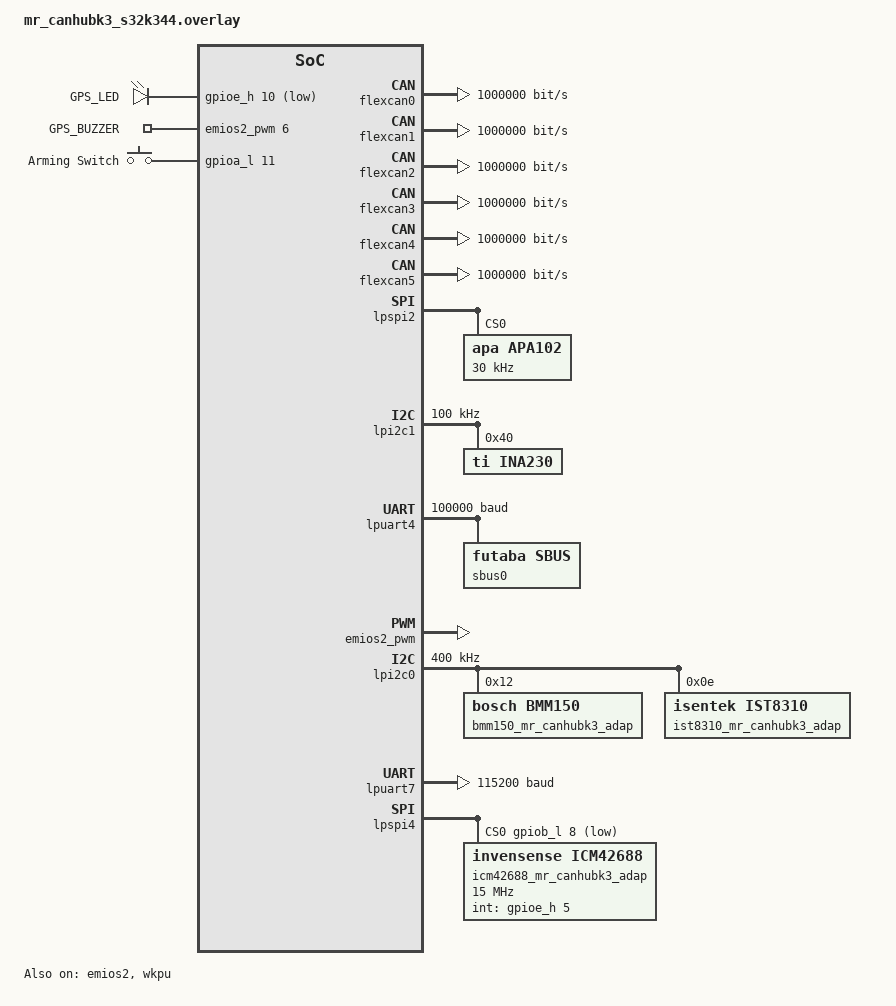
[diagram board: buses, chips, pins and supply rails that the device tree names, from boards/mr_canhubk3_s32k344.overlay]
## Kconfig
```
# Copyright (c) 2023, CogniPilot Foundation
# SPDX-License-Identifier: Apache-2.0

mainmenu "CogniPilot - Cerebri - MELM"
source "Kconfig.zephyr"

config CEREBRI_MELM_ESTIMATE
  bool "enable estimate"
  depends on CEREBRI_MELM_CASADI
  help
    Enable estimator

config CEREBRI_MELM_FSM
  bool "enable finite state machine"
  help
    Enable fintie state machine

config CEREBRI_MELM_LIGHTING
  bool "enable lighting"
  help
    Enable lighting

config CEREBRI_MELM_COMMAND
  bool "enable command"
  depends on CEREBRI_MELM_MIXING
  help
    Enable command

config CEREBRI_MELM_MIXING
  bool "enable mixing"
  help
    Enable mixing

config CEREBRI_MELM_POSITION
  bool "enable position"
  depends on CEREBRI_MELM_CASADI
  help
    Enable position

config CEREBRI_MELM_VELOCITY
  bool "enable velocity"
  depends on CEREBRI_MELM_MIXING
  depends on CEREBRI_MELM_CASADI
  help
    Enable velocity

config CEREBRI_MELM_CASADI
  bool "enable casadi code"
  help
    Enable Casadi generated code

config CEREBRI_MELM_BATTERY_MIN_MILLIVOLT
  int "min battery voltage in milli volts before shut off"
  default 10000
  help
    Minimum battery voltage in mV before auto-disarm

config CEREBRI_MELM_BATTERY_LOW_MILLIVOLT
  int "low battery voltage in milli volts before warning"
  default 10500
  help
    Low battery voltage in mV before warning

config CEREBRI_MELM_BATTERY_MAX_MILLIVOLT
  int "max battery voltage in milli volts"
  default 12600
  help
    Maximum battery voltage

config CEREBRI_MELM_GAIN_HEADING
  int "heading gain"
  default 100
  help
    Steering = Heading error * GAIN_/ 1000

config CEREBRI_MELM_GAIN_CROSS_TRACK
  int "cross track gain"
  default 100
  help
    Steering = Cross track error * GAIN / 1000

config CEREBRI_MELM_GAIN_ALONG_TRACK
  int "along track gain"
  default 100
  help
    Steering = Along track error * GAIN / 1000

config CEREBRI_MELM_MAX_TURN_ANGLE_MRAD
  int "max turn angle mrad"
  default 400
  help
    Max turn angle in milli-radians

config CEREBRI_MELM_MAX_VELOCITY_MM_S
  int "max velocity, mm/s"
  default 1000
  help
    Max velocity in mm/s

config CEREBRI_MELM_WHEEL_RADIUS_MM
  int "wheel radius, mm"
  default 37
  help
    Wheel radius in mm

config CEREBRI_MELM_WHEEL_BASE_MM
  int "wheel base, mm"
  default 226
  help
    Wheel radius in mm

module = CEREBRI_MELM
module-str = cerebri_melm
source "subsys/logging/Kconfig.template.log_config"
```

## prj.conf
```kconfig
CONFIG_CEREBRI_APP_NAME="b3rb"

CONFIG_SYS_CLOCK_TICKS_PER_SEC=10000
CONFIG_TICKLESS_KERNEL=n

CONFIG_CEREBRI_DREAM_SIL=n

CONFIG_CEREBRI_MELM_ESTIMATE=y
CONFIG_CEREBRI_MELM_FSM=y
CONFIG_CEREBRI_MELM_COMMAND=y
CONFIG_CEREBRI_MELM_MIXING=y
CONFIG_CEREBRI_MELM_POSITION=y
CONFIG_CEREBRI_MELM_VELOCITY=y
CONFIG_CEREBRI_MELM_LIGHTING=y
CONFIG_CEREBRI_MELM_CASADI=y
CONFIG_CEREBRI_ACTUATE_LED_ARRAY_COUNT=12

CONFIG_CEREBRI_ACTUATE_PWM=y
CONFIG_CEREBRI_ACTUATE_LED_ARRAY=y
CONFIG_CEREBRI_ACTUATE_SOUND=y

CONFIG_NET_BUF_RX_COUNT=24
CONFIG_NET_PKT_RX_COUNT=24

CONFIG_CEREBRI_SENSE_SBUS=y
CONFIG_CEREBRI_SENSE_POWER=y
CONFIG_CEREBRI_SENSE_SAFETY=y
CONFIG_CEREBRI_SENSE_IMU=y
CONFIG_CEREBRI_SENSE_MAG=y
CONFIG_CEREBRI_SENSE_WHEEL_ODOMETRY=y
CONFIG_CEREBRI_SENSE_UBX_GNSS=y

CONFIG_CEREBRI_SYNAPSE_ETH_RX=y
CONFIG_CEREBRI_SYNAPSE_ETH_TX=y

CONFIG_CEREBRI_SYNAPSE_TOPIC=y
CONFIG_CEREBRI_CORE_COMMON=y
CONFIG_CEREBRI_CORE_COMMON_BOOT_BANNER=y
CONFIG_ZROS=y
CONFIG_SHELL_STACK_SIZE=8192
CONFIG_INIT_STACKS=y

CONFIG_LOG=y
CONFIG_LOG_CMDS=y
CONFIG_LOG_MODE_DEFERRED=y

CONFIG_CBPRINTF_FP_SUPPORT=y

# modules
CONFIG_SYNAPSE_PROTOBUF=y
CONFIG_SYNAPSE_TINYFRAME=y
CONFIG_NANOPB=y
CONFIG_UBXLIB=y

# Debug
CONFIG_CEREBRI_ACTUATE_PWM_LOG_LEVEL_DBG=n
CONFIG_CEREBRI_SENSE_WHEEL_ODOMETRY_LOG_LEVEL_DBG=n
CONFIG_CEREBRI_SENSE_IMU_LOG_LEVEL_DBG=n
CONFIG_CEREBRI_SENSE_SAFETY_LOG_LEVEL_DBG=n
CONFIG_CEREBRI_ACTUATE_PWM_LOG_LEVEL_DBG=n

# General config
CONFIG_POSIX_API=y
CONFIG_NEWLIB_LIBC=y
CONFIG_MAIN_THREAD_PRIORITY=5
CONFIG_SYSTEM_WORKQUEUE_PRIORITY=-2
CONFIG_SYS_CLOCK_TICKS_PER_SEC=10000

# Networking config
CONFIG_NET_SHELL=y
CONFIG_NETWORKING=y
CONFIG_NET_IPV4=y
CONFIG_NET_IPV6=n
CONFIG_NET_TCP=y
CONFIG_NET_SOCKETS=y

# Network address config
CONFIG_NET_CONFIG_SETTINGS=y
CONFIG_NET_STATISTICS=y
CONFIG_NET_MGMT_EVENT_INFO=y
CONFIG_NET_MGMT_EVENT_MONITOR=y
CONFIG_NET_BUF_POOL_USAGE=y
CONFIG_NET_DEBUG_NET_PKT_ALLOC=y
CONFIG_NET_CONFIG_NEED_IPV4=y
CONFIG_NET_CONFIG_MY_IPV4_ADDR="192.0.2.1"
CONFIG_NET_CONFIG_PEER_IPV4_ADDR="192.0.2.2"

# STATS
CONFIG_THREAD_RUNTIME_STATS=y
CONFIG_SCHED_THREAD_USAGE=y
CONFIG_SCHED_THREAD_USAGE_ANALYSIS=y
CONFIG_SCHED_THREAD_USAGE_ALL=y
CONFIG_SCHED_THREAD_USAGE_AUTO_ENABLE=y
```

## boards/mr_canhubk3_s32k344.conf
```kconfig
CONFIG_ENTROPY_GENERATOR=y
CONFIG_TEST_RANDOM_GENERATOR=y
CONFIG_SPEED_OPTIMIZATIONS=y
CONFIG_SIZE_OPTIMIZATIONS=n

CONFIG_DISK_ACCESS=n
CONFIG_FS_FATFS_EXFAT=n
CONFIG_DISK_DRIVER_SDMMC=n
CONFIG_FS_FATFS_MOUNT_MKFS=n
CONFIG_CEREBRI_SYNAPSE_LOG_SDCARD=n

CONFIG_TEST=y
CONFIG_UBSAN=n
CONFIG_ASSERT=y
CONFIG_ASSERT_LEVEL=2
CONFIG_ASSERT_VERBOSE=y

CONFIG_SYSTEM_WORKQUEUE_STACK_SIZE=4096

CONFIG_STACK_CANARIES=y

CONFIG_ISR_STACK_SIZE=2048

CONFIG_LOG_MODE_DEFERRED=y
CONFIG_LOG_MODE_IMMEDIATE=n

CONFIG_FPU=y

# config
CONFIG_INPUT=y
CONFIG_INPUT_GPIO_KEYS=y
CONFIG_INPUT_SBUS=y
CONFIG_INPUT_SBUS_THREAD_STACK_SIZE=8192
CONFIG_INPUT_SBUS_REPORT_FILTER=0
CONFIG_INPUT_EVENT_DUMP=n
CONFIG_INPUT_SHELL=n
CONFIG_INPUT_MODE_SYNCHRONOUS=y
CONFIG_INPUT_THREAD_STACK_SIZE=2048


CONFIG_CEREBRI_SENSE_SBUS=y
CONFIG_CEREBRI_SENSE_IMU=n
CONFIG_CEREBRI_SENSE_MAG=n
CONFIG_CEREBRI_SENSE_SAFETY=n
CONFIG_CEREBRI_SENSE_UBX_GNSS=n

CONFIG_CEREBRI_SYNAPSE_ETH_RX=y
CONFIG_CEREBRI_SYNAPSE_ETH_TX=y

CONFIG_PWM=y
CONFIG_CEREBRI_ACTUATE_PWM=n
CONFIG_CEREBRI_ACTUATE_PWM_SHELL=n

CONFIG_LED_STRIP=y
CONFIG_APA102_STRIP=y
CONFIG_CEREBRI_ACTUATE_LED_ARRAY=y
CONFIG_CEREBRI_SENSE_MAG_COUNT=2
CONFIG_CEREBRI_SENSE_POWER=n
CONFIG_CEREBRI_ACTUATE_SOUND=y

CONFIG_ETH_NXP_S32_RX_RING_LEN=16

CONFIG_CAN=y
CONFIG_CAN_MAX_FILTER=5
CONFIG_CAN_SHELL=y

CONFIG_NET_DRIVERS=y
CONFIG_NET_CANBUS=y

CONFIG_NET_SOCKETS_CAN=y
CONFIG_NET_DEFAULT_IF_CANBUS_RAW=y

CONFIG_CEREBRI_ACTUATE_VESC_CAN=y
CONFIG_CEREBRI_ACTUATE_VESC_CAN_NUMBER=1
CONFIG_CEREBRI_ACTUATE_VESC_CAN_BUS_FD_0=y
CONFIG_CEREBRI_ACTUATE_VESC_CAN_BUS_ALIAS_CAN_N_0=2
CONFIG_CEREBRI_ACTUATE_VESC_CAN_ID_0=60
CONFIG_CEREBRI_ACTUATE_VESC_CAN_ACTUATOR_VEL_IDX_0=0
CONFIG_CEREBRI_ACTUATE_VESC_CAN_POLE_PAIR_0=7

CONFIG_CAN_LOG_LEVEL_DBG=n
CONFIG_CAN_FD_MODE=y
CONFIG_SHELL_ARGC_MAX=72
CONFIG_I2C=y
CONFIG_SENSOR=y
CONFIG_SENSOR_SHELL=y
CONFIG_HEAP_MEM_POOL_SIZE=16384

# Debugging
CONFIG_DEBUG_THREAD_INFO=y

# Logging
#CONFIG_LOG_BACKEND_NET=n
#CONFIG_LOG_BACKEND_NET_SERVER="192.0.2.2"
```

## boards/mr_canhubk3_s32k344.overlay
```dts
/* SPDX-License-Identifier: Apache-2.0 */
/* Copyright 2023 CogniPilot Foundation */
#include <freq.h>
#include <zephyr/dt-bindings/gpio/nxp-s32-gpio.h>
#include <zephyr/dt-bindings/input/input-event-codes.h>
#include <zephyr/dt-bindings/led/led.h>
#include <zephyr/dt-bindings/sensor/ina230.h>
#include <zephyr/dt-bindings/sensor/icm42688.h>

/ {
	pwm_actuators: pwm_actuators {
		compatible = "cerebri,pwm-actuators";
		aux0 {
			input-type = "position";
			input-index = <0>;
			pwms = <&emios0_pwm 0 PWM_HZ(50) PWM_POLARITY_NORMAL>;
			disarmed = <1500>;
			min = <1100>;
			max = <1900>;
			center = <1500>;
			scale = <800>;
			scale-div = <1>;

		};
		aux1 {
			input-type = "velocity";
			input-index = <0>;
			pwms = <&emios0_pwm 2 PWM_HZ(20000) PWM_POLARITY_NORMAL>;
			disarmed = <25000>;
			min = <0>;
			max = <50000>;
			center = <25000>;
			scale = <717>;
			scale-div = <1>;
			use-nano-seconds;
		};
		aux2 {
			input-type = "normalized";
			input-index = <0>;
			pwms = <&emios0_pwm 1 PWM_HZ(20000) PWM_POLARITY_NORMAL>;
			disarmed = <0>;
			min = <0>;
			max = <50000>;
			center = <0>;
			scale = <50000>;
			scale-div = <1>;
			use-nano-seconds;
		};
	};

	chosen {
		zephyr,canbus = &flexcan3;
	};

	aliases {
		can0 = &flexcan0;
		can1 = &flexcan1;
		can2 = &flexcan2;
		can3 = &flexcan3;
		can4 = &flexcan4;
		can5 = &flexcan5;
		accel0 = &icm42688_mr_canhubk3_adap;
		gyro0 = &icm42688_mr_canhubk3_adap;
		mag0 = &bmm150_mr_canhubk3_adap;
		mag1 = &ist8310_mr_canhubk3_adap;
		led0 = &gps_led_mr_canhubk3_adap;
		buzzer = &gps_buzzer_mr_canhubk3_adap;
		power0 = &ina230;
		wheel-odometry0 = &qdec0;
		sbus = &sbus0;
		safety-button = &safety_button_mr_canhubk3_adap;
	};
	cfg-device-gnss {
		status = "okay";
		compatible = "u-blox,ubxlib-device-gnss";
		transport-type = "uart0";
		uart-baud-rate = <115200>;
		module-type = "U_GNSS_MODULE_TYPE_M10";
	};
	leds {
		gps_led_mr_canhubk3_adap: gps_led {
			label = "GPS_LED";
			gpios = <&gpioe_h 10 GPIO_ACTIVE_LOW>;
		};
	};
	pwmbuzzers {
		compatible = "pwm-leds";

		gps_buzzer_mr_canhubk3_adap: gps_buzzer {
			label = "GPS_BUZZER";
			pwms = <&emios2_pwm 6 PWM_KHZ(1) PWM_POLARITY_NORMAL>;
		};
	};
	gpio_keys {
		compatible = "gpio-keys";
		safety_button_mr_canhubk3_adap: button_0 {
			label = "Arming Switch";
			gpios = <&gpioa_l 11 (GPIO_PULL_DOWN | GPIO_ACTIVE_HIGH)>;
			zephyr,code = <INPUT_KEY_0>;
		};
	};
};

&eirq0_default {
    group2 {
        pinmux = <PTA11_EIRQ19>;
        input-enable;
    };
};

&gpioa_l {
	status = "okay";
};

&emios0_pwm {
	pwm_0 {
		/delete-property/ period;
		/delete-property/ prescaler;
		master-bus = <&emios0_bus_a>;
		pwm-mode = "OPWMB";
		phase-shift = <100>;
		duty-cycle = <0>;
	};
	pwm_1 {
		prescaler = <1>;
		duty-cycle = <0>;
	};
	pwm_2 {
		prescaler = <1>;
	};
};

&flexcan0 {
	status = "okay";
	bitrate = <1000000>;
	bitrate-data = <4000000>;
};

&flexcan1 {
	status = "okay";
	bitrate = <1000000>;
	bitrate-data = <4000000>;
};

&flexcan2 {
	status = "okay";
	bitrate = <1000000>;
	bitrate-data = <4000000>;
};

&flexcan3 {
	status = "okay";
	bitrate = <1000000>;
	bitrate-data = <4000000>;
};

&flexcan4 {
	status = "okay";
	bitrate = <1000000>;
	bitrate-data = <4000000>;
};

&flexcan5 {
	status = "okay";
	bitrate = <1000000>;
	bitrate-data = <4000000>;
};

&lpspi2 {
	status = "okay";
	apa102: apa102@0 {
		compatible = "apa,apa102";
		reg = <0>;
		spi-max-frequency = <30000>;
		status = "okay";
		chain-length = <12>;
		color-mapping = <>;
	};
};

&lpi2c1 {
	status = "okay";
	pinctrl-0 = <&lpi2c1_default>;
	pinctrl-names = "default";
	clock-frequency = <I2C_BITRATE_STANDARD>;

	ina230: ina230@40 {
		compatible = "ti,ina230";
		reg = <0x40>;
		current-lsb-microamps = <10000>;
		rshunt-micro-ohms = <2000>;
	};
};

&lpuart4 {
	status = "okay";
	pinctrl-0 = <&lpuart4_mr_canhubk3_adap>;
	pinctrl-names = "default";
	current-speed = <100000>;
	single-wire;
	rx-invert;

	sbus0: sbus {
		compatible = "futaba,sbus";
		chan_1 {
			channel = <1>;
			type = <INPUT_EV_ABS>;
			zephyr,code = <1>;
		};
		chan_2 {
			channel = <2>;
			type = <INPUT_EV_ABS>;
			zephyr,code = <2>;
		};
		chan_3 {
			channel = <3>;
			type = <INPUT_EV_ABS>;
			zephyr,code = <3>;
		};
		chan_4 {
			channel = <4>;
			type = <INPUT_EV_ABS>;
			zephyr,code = <4>;
		};
		chan_5 {
			channel = <5>;
			type = <INPUT_EV_ABS>;
			zephyr,code = <5>;
		};
		chan_6 {
			channel = <6>;
			type = <INPUT_EV_ABS>;
			zephyr,code = <6>;
		};
		chan_7 {
			channel = <7>;
			type = <INPUT_EV_ABS>;
			zephyr,code = <7>;
		};
		chan_8 {
			channel = <8>;
			type = <INPUT_EV_ABS>;
			zephyr,code = <8>;
		};
		chan_9 {
			channel = <9>;
			type = <INPUT_EV_ABS>;
			zephyr,code = <9>;
		};
		chan_10 {
			channel = <10>;
			type = <INPUT_EV_ABS>;
			zephyr,code = <10>;
		};
		chan_11 {
			channel = <11>;
			type = <INPUT_EV_ABS>;
			zephyr,code = <11>;
		};
		chan_12 {
			channel = <12>;
			type = <INPUT_EV_ABS>;
			zephyr,code = <12>;
		};
		chan_13 {
			channel = <13>;
			type = <INPUT_EV_ABS>;
			zephyr,code = <13>;
		};
		chan_14 {
			channel = <14>;
			type = <INPUT_EV_ABS>;
			zephyr,code = <14>;
		};
		chan_15 {
			channel = <15>;
			type = <INPUT_EV_ABS>;
			zephyr,code = <15>;
		};
		chan_16 {
			channel = <16>;
			type = <INPUT_EV_ABS>;
			zephyr,code = <16>;
		};
	};
};

&emios2 {
	clock-divider = <160>;
	status = "okay";

	master_bus {
		/* Internal counter's clock = 160 MHz (eMIOS1 clk) / 160 / 1 = 1 MHz */
		emios2_bus_b {
			mode = "MCB_UP_COUNTER";
			prescaler = <1>;
			period = <DT_FREQ_K(2)>;
			status = "okay";
		};
	};

	emios2_pwm: pwm {
		pinctrl-0 = <&emios2_mr_canhubk3_adap>;
		pinctrl-names = "default";
		status = "okay";

		pwm_gps_buzzer {
			channel = <6>;
			duty-cycle = <0>;
			master-bus = <&emios2_bus_b>;
			pwm-mode = "OPWMB";
			polarity = "ACTIVE_HIGH";
		};
	};
};

&lpi2c0 {
	status = "okay";
	clock-frequency = <I2C_BITRATE_FAST>;

	bmm150_mr_canhubk3_adap: bmm150@12  {
		compatible = "bosch,bmm150";
		status = "okay";
		reg = <0x12>;
	};

	ist8310_mr_canhubk3_adap: ist8310@e {
		compatible = "isentek,ist8310";
		status = "okay";
		reg = <0xe>;
	};
};

&wkpu {
	status = "okay";
};

&pinctrl {
	lpspi4_mr_canhubk3_adap: lpspi4_mr_canhubk3_adap {
		group1 {
			pinmux = <PTB10_LPSPI4_SCK_O>, <PTB11_LPSPI4_SIN_O>;
			output-enable;
		};
		group2 {
			pinmux = <PTB9_LPSPI4_SOUT_I>;
			input-enable;
		};
	};

	emios2_mr_canhubk3_adap: emios2_mr_canhubk3_adap {
		group1 {
			pinmux = <PTE26_EMIOS_2_CH6_H_O>;
			output-enable;
		};
	};

	lpuart4_mr_canhubk3_adap: lpuart4_mr_canhubk3_adap {
		group1 {
			pinmux = <PTE11_LPUART4_TX_I>;
			input-enable;
		};
	};

	lpuart7_mr_canhubk3_adap: lpuart7_mr_canhubk3_adap {
		group1 {
			pinmux = <PTE1_LPUART7_TX_O>;
			output-enable;
		};
		group2 {
			pinmux = <PTE0_LPUART7_RX>;
			input-enable;
		};
	};
};

/* GNSS 1 */
uart0: &lpuart7 {
	status = "okay";
	pinctrl-0 = <&lpuart7_mr_canhubk3_adap>;
	pinctrl-names = "default";
	current-speed = <115200>;
};

&lpspi4 {
	status = "okay";
	pinctrl-0 = <&lpspi4_mr_canhubk3_adap>;
	pinctrl-names = "default";
	cs-gpios = <&gpiob_l 8 GPIO_ACTIVE_LOW>;

	icm42688_mr_canhubk3_adap: icm42688p0@0 {
		fifo-hires;
		compatible = "invensense,icm42688";
		reg = <0>;
		int-gpios = <&gpioe_h 5 NXP_S32_GPIO_INT_WKPU>;
		spi-max-frequency = <15000000>;
		accel-pwr-mode = <ICM42688_DT_ACCEL_LN>;
		accel-odr = <ICM42688_DT_ACCEL_ODR_200>;
		accel-fs = <ICM42688_DT_ACCEL_FS_16>;
		gyro-pwr-mode = <ICM42688_DT_GYRO_LN>;
		gyro-odr = <ICM42688_DT_GYRO_ODR_200>;
		gyro-fs = <ICM42688_DT_GYRO_FS_2000>;
	};
};
```

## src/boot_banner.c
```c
/*
 * Copyright (c) 2023 CogniPilot Foundation
 * SPDX-License-Identifier: Apache-2.0
 */

#include <zephyr/kernel.h>
#include <zephyr/logging/log.h>

#if defined(CONFIG_CEREBRI_CORE_COMMON_BOOT_BANNER)
#include <stdio.h>
#endif

#include <cerebri/core/common.h>

LOG_MODULE_REGISTER(melm_boot_banner, CONFIG_CEREBRI_MELM_LOG_LEVEL);

static int melm_boot_banner_sys_init(void)
{
    LOG_INF("Cerebri MELM %d.%d.%d", CONFIG_CEREBRI_VERSION_MAJOR, CONFIG_CEREBRI_VERSION_MINOR, CONFIG_CEREBRI_VERSION_PATCH);
#if defined(CONFIG_CEREBRI_CORE_COMMON_BOOT_BANNER)
    printf("%s%s", banner_brain, banner_name);
#endif
    return 0;
};

SYS_INIT(melm_boot_banner_sys_init, APPLICATION, 0);

// vi: ts=4 sw=4 et
```

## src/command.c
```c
/*
 * Copyright CogniPilot Foundation 2024
 * SPDX-License-Identifier: Apache-2.0
 */

#include <zephyr/kernel.h>
#include <zephyr/logging/log.h>
#include <zephyr/shell/shell.h>

#include <zros/private/zros_node_struct.h>
#include <zros/private/zros_pub_struct.h>
#include <zros/private/zros_sub_struct.h>
#include <zros/zros_node.h>
#include <zros/zros_pub.h>
#include <zros/zros_sub.h>

#include <synapse_topic_list.h>

#include "input_mapping.h"
#include "mixing.h"

#define MY_STACK_SIZE 8192
#define MY_PRIORITY 4

LOG_MODULE_REGISTER(melm_command, CONFIG_CEREBRI_MELM_LOG_LEVEL);

static K_THREAD_STACK_DEFINE(g_my_stack_area, MY_STACK_SIZE);

struct context {
    struct zros_node node;
    synapse_pb_Status status;
    synapse_pb_Input input;
    synapse_pb_Actuators actuators;
    synapse_pb_Twist cmd_vel;
    struct zros_sub sub_status, sub_cmd_vel, sub_input;
    struct zros_pub pub_actuators;
    const double wheel_radius;
    const double max_turn_angle;
    const double max_velocity;
    struct k_sem running;
    size_t stack_size;
    k_thread_stack_t* stack_area;
    struct k_thread thread_data;
};

static struct context g_ctx = {
    .node = {},
    .status = synapse_pb_Status_init_default,
    .input = synapse_pb_Input_init_default,
    .actuators = synapse_pb_Actuators_init_default,
    .cmd_vel = synapse_pb_Twist_init_default,
    .sub_status = {},
    .sub_cmd_vel = {},
    .pub_actuators = {},
    .wheel_radius = CONFIG_CEREBRI_MELM_WHEEL_RADIUS_MM / 1000.0,
    .max_turn_angle = CONFIG_CEREBRI_MELM_MAX_TURN_ANGLE_MRAD / 1000.0,
    .max_velocity = CONFIG_CEREBRI_MELM_MAX_VELOCITY_MM_S / 1000.0,
    .running = Z_SEM_INITIALIZER(g_ctx.running, 1, 1),
    .stack_size = MY_STACK_SIZE,
    .stack_area = g_my_stack_area,
    .thread_data = {},
};

static void melm_command_init(struct context* ctx)
{
    zros_node_init(&ctx->node, "melm_command");
    zros_sub_init(&ctx->sub_status, &ctx->node, &topic_status, &ctx->status, 10);
    zros_sub_init(&ctx->sub_input, &ctx->node, &topic_input, &ctx->input, 10);
    zros_sub_init(&ctx->sub_cmd_vel, &ctx->node, &topic_cmd_vel, &ctx->cmd_vel, 10);
    zros_pub_init(&ctx->pub_actuators, &ctx->node, &topic_actuators, &ctx->actuators);
    k_sem_take(&ctx->running, K_FOREVER);
    LOG_INF("init");
}

static void melm_command_fini(struct context* ctx)
{
    zros_sub_fini(&ctx->sub_status);
    zros_sub_fini(&ctx->sub_input);
    zros_sub_fini(&ctx->sub_cmd_vel);
    zros_pub_fini(&ctx->pub_actuators);
    zros_node_fini(&ctx->node);
    k_sem_give(&ctx->running);
    LOG_INF("fini");
}

static void melm_stop(struct context* ctx)
{
    for (int i = 0; i < ctx->input.channel_count; i++) {
        ctx->input.channel[i] = 0;
    }
    ctx->cmd_vel.has_angular = true;
    ctx->cmd_vel.angular.x = 0;
    ctx->cmd_vel.angular.y = 0;
    ctx->cmd_vel.angular.z = 0;
    ctx->cmd_vel.has_linear = true;
    ctx->cmd_vel.linear.x = 0;
    ctx->cmd_vel.linear.y = 0;
    ctx->cmd_vel.linear.z = 0;
}

static void melm_command_run(void* p0, void* p1, void* p2)
{
    struct context* ctx = p0;
    ARG_UNUSED(p1);
    ARG_UNUSED(p2);

    melm_command_init(ctx);

    double dt = 0;
    int64_t ticks_last = k_uptime_ticks();

    while (k_sem_take(&ctx->running, K_NO_WAIT) < 0) {
        // wait for input event, publish at 1 Hz regardless
        int rc = 0;

        struct k_poll_event events[3] = {
            *zros_sub_get_event(&ctx->sub_status),
            *zros_sub_get_event(&ctx->sub_input),
            *zros_sub_get_event(&ctx->sub_cmd_vel),
        };
        rc = k_poll(events, ARRAY_SIZE(events), K_MSEC(1000));

        if (rc != 0) {
            melm_stop(ctx);
        }

        bool update_status = zros_sub_update_available(&ctx->sub_status);
        bool update_input = zros_sub_update_available(&ctx->sub_input);
        bool update_cmd_vel = zros_sub_update_available(&ctx->sub_cmd_vel);

        if (update_status) {
            zros_sub_update(&ctx->sub_status);
        }

        if (update_input) {
            zros_sub_update(&ctx->sub_input);
        }

        if (update_cmd_vel) {
            zros_sub_update(&ctx->sub_cmd_vel);
        }

        // calculate dt
        int64_t ticks_now = k_uptime_ticks();
        dt = (double)(ticks_now - ticks_last) / CONFIG_SYS_CLOCK_TICKS_PER_SEC;
        ticks_last = ticks_now;
        if (dt < 0 || dt > 0.5) {
            LOG_ERR("input update rate too low: %10.4f", dt);
            continue;
        }

        if (ctx->status.mode == synapse_pb_Status_Mode_MODE_ACTUATORS) {

            double turn_angle = -ctx->max_turn_angle * (double)ctx->input.channel[CH_RIGHT_STICK_RIGHT];
            double omega_fwd = ctx->max_velocity * (double)ctx->input.channel[CH_LEFT_STICK_UP] / ctx->wheel_radius;

            bool armed = ctx->status.arming == synapse_pb_Status_Arming_ARMING_ARMED;

            melm_set_actuators(&ctx->actuators, turn_angle, omega_fwd, armed);
            zros_pub_update(&ctx->pub_actuators);
        }
    }

    melm_command_fini(ctx);
}

static int start(struct context* ctx)
{
    k_tid_t tid = k_thread_create(&ctx->thread_data, ctx->stack_area,
        ctx->stack_size,
        melm_command_run,
        ctx, NULL, NULL,
        MY_PRIORITY, 0, K_FOREVER);
    k_thread_name_set(tid, "melm_command");
    k_thread_start(tid);
    return 0;
}

static int melm_command_cmd_handler(const struct shell* sh,
    size_t argc, char** argv, void* data)
{
    ARG_UNUSED(argc);
    struct context* ctx = data;

    if (strcmp(argv[0], "start") == 0) {
        if (k_sem_count_get(&g_ctx.running) == 0) {
            shell_print(sh, "already running");
        } else {
            start(ctx);
        }
    } else if (strcmp(argv[0], "stop") == 0) {
        if (k_sem_count_get(&g_ctx.running) == 0) {
            k_sem_give(&g_ctx.running);
        } else {
            shell_print(sh, "not running");
        }
    } else if (strcmp(argv[0], "status") == 0) {
        shell_print(sh, "running: %d", (int)k_sem_count_get(&g_ctx.running) == 0);
    }
    return 0;
}

SHELL_SUBCMD_DICT_SET_CREATE(sub_melm_command, melm_command_cmd_handler,
    (start, &g_ctx, "start"),
    (stop, &g_ctx, "stop"),
    (status, &g_ctx, "status"));

SHELL_CMD_REGISTER(melm_command, &sub_melm_command, "melm command arguments", NULL);

static int melm_command_sys_init(void)
{
    return start(&g_ctx);
};

SYS_INIT(melm_command_sys_init, APPLICATION, 1);

// vi: ts=4 sw=4 et
```

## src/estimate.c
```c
/*
 * Copyright CogniPilot Foundation 2023
 * SPDX-License-Identifier: Apache-2.0
 */

#include <math.h>
#include <stdio.h>
#include <time.h>

#include <zephyr/kernel.h>
#include <zephyr/logging/log.h>
#include <zephyr/shell/shell.h>

#include <zros/private/zros_node_struct.h>
#include <zros/private/zros_pub_struct.h>
#include <zros/private/zros_sub_struct.h>
#include <zros/zros_node.h>
#include <zros/zros_pub.h>
#include <zros/zros_sub.h>

#include <synapse_topic_list.h>

#include <cerebri/core/casadi.h>

#include "app/melm/casadi/melm.h"

#define MY_STACK_SIZE 4096
#define MY_PRIORITY 4

#ifndef M_PI
#define M_PI 3.14159265358979323846
#endif

LOG_MODULE_REGISTER(melm_estimate, CONFIG_CEREBRI_MELM_LOG_LEVEL);

static K_THREAD_STACK_DEFINE(g_my_stack_area, MY_STACK_SIZE);

// private context
struct context {
    struct zros_node node;
    synapse_pb_WheelOdometry wheel_odometry;
    synapse_pb_Imu imu;
    synapse_pb_Odometry odometry;
    struct zros_sub sub_wheel_odometry, sub_imu;
    struct zros_pub pub_odometry;
    double x[3];
    const double wheel_radius;
    struct k_sem running;
    size_t stack_size;
    k_thread_stack_t* stack_area;
    struct k_thread thread_data;
};

// private initialization
static struct context g_ctx = {
    .node = {},
    .wheel_odometry = synapse_pb_WheelOdometry_init_default,
    .imu = synapse_pb_Imu_init_default,
    .odometry = {
        .child_frame_id = "base_link",
        .has_stamp = true,
        .frame_id = "odom",
        .has_pose = true,
        .pose.has_position = true,
        .pose.has_orientation = true,
    },
    .sub_wheel_odometry = {},
    .sub_imu = {},
    .pub_odometry = {},
    .x = {},
    .wheel_radius = CONFIG_CEREBRI_MELM_WHEEL_RADIUS_MM / 1000.0,
    .running = Z_SEM_INITIALIZER(g_ctx.running, 1, 1),
    .stack_size = MY_STACK_SIZE,
    .stack_area = g_my_stack_area,
    .thread_data = {},
};

static void melm_estimate_init(struct context* ctx)
{
    zros_node_init(&ctx->node, "melm_estimate");
    zros_sub_init(&ctx->sub_imu, &ctx->node, &topic_imu, &ctx->imu, 10);
    zros_sub_init(&ctx->sub_wheel_odometry, &ctx->node, &topic_wheel_odometry,
        &ctx->wheel_odometry, 10);
    zros_pub_init(&ctx->pub_odometry, &ctx->node, &topic_odometry_estimator, &ctx->odometry);
    k_sem_take(&ctx->running, K_FOREVER);
    LOG_INF("init");
}

static void melm_estimate_fini(struct context* ctx)
{
    zros_pub_fini(&ctx->pub_odometry);
    zros_sub_fini(&ctx->sub_wheel_odometry);
    zros_sub_fini(&ctx->sub_imu);
    zros_node_fini(&ctx->node);
    k_sem_give(&ctx->running);
    LOG_INF("fini");
}

static bool all_finite(double* src, size_t n)
{
    for (size_t i = 0; i < n; i++) {
        if (!isfinite(src[i])) {
            return false;
        }
    }
    return true;
}

static void handle_update(struct context* ctx, double* x1)
{
    bool x1_finite = all_finite(x1, ARRAY_SIZE(ctx->x));

    if (!x1_finite) {
        LOG_WRN("x1 update not finite");
    }

    if (x1_finite) {
        memcpy(ctx->x, x1, sizeof(ctx->x));
    }
}

static void melm_estimate_run(void* p0, void* p1, void* p2)
{
    struct context* ctx = p0;
    ARG_UNUSED(p1);
    ARG_UNUSED(p2);

    int rc = 0;

    // LOG_DBG("started");
    melm_estimate_init(ctx);

    // variables
    double rotation_last = 0;

    struct k_poll_event events[1] = {};

    // wait for imu
    LOG_DBG("waiting for imu");
    events[0] = *zros_sub_get_event(&ctx->sub_imu);
    rc = k_poll(events, ARRAY_SIZE(events), K_FOREVER);
    if (rc != 0) {
        LOG_DBG("did not receive imu");
        return;
    }
    if (zros_sub_update_available(&ctx->sub_imu)) {
        zros_sub_update(&ctx->sub_imu);
    }

    // wait for wheel odometry
    LOG_DBG("waiting for wheel odometry");
    events[0] = *zros_sub_get_event(&ctx->sub_wheel_odometry);
    rc = k_poll(events, ARRAY_SIZE(events), K_FOREVER);
    if (rc != 0) {
        LOG_DBG("did not receive wheel odometry");
        return;
    }
    if (zros_sub_update_available(&ctx->sub_wheel_odometry)) {
        zros_sub_update(&ctx->sub_wheel_odometry);
    }

    double dt = 0;
    int64_t ticks_last = k_uptime_ticks();

    // poll on imu
    events[0] = *zros_sub_get_event(&ctx->sub_imu);

    // estimator state
    while (k_sem_take(&ctx->running, K_NO_WAIT) < 0) {

        // poll for imu
        rc = k_poll(events, ARRAY_SIZE(events), K_MSEC(1000));
        if (rc != 0) {
            LOG_DBG("not receiving imu");
            continue;
        }

        if (zros_sub_update_available(&ctx->sub_imu)) {
            zros_sub_update(&ctx->sub_imu);
        }

        if (zros_sub_update_available(&ctx->sub_wheel_odometry)) {
            zros_sub_update(&ctx->sub_wheel_odometry);
        }

        // calculate dt
        int64_t ticks_now = k_uptime_ticks();
        dt = (double)(ticks_now - ticks_last) / CONFIG_SYS_CLOCK_TICKS_PER_SEC;
        ticks_last = ticks_now;
        if (dt < 0 || dt > 0.5) {
            LOG_WRN("imu update rate too low");
            continue;
        }

        // get data
        double rotation = ctx->wheel_odometry.rotation;

        // negative sign due to current gearing, should be in driver
        double u = (rotation - rotation_last) * ctx->wheel_radius;
        rotation_last = rotation;

        double omega = ctx->imu.angular_velocity.z;
        // LOG_DBG("imu omega z: %10.4f", omega);

        /* predict:(x0[3],omega,u)->(x1[3]) */
        {
            double delta_theta = omega * dt;
            double x1[3];

            // LOG_DBG("predict");
            CASADI_FUNC_ARGS(predict);
            args[0] = ctx->x;
            args[1] = &delta_theta;
            args[2] = &u;
            res[0] = x1;
            CASADI_FUNC_CALL(predict);

            // update x, W
            handle_update(ctx, x1);
        }

        // publish odometry
        {
            stamp_msg(&ctx->odometry.stamp, k_uptime_ticks());

            double theta = ctx->x[2];
            ctx->odometry.pose.position.x = ctx->x[0];
            ctx->odometry.pose.position.y = ctx->x[1];
            ctx->odometry.pose.position.z = 0;
            ctx->odometry.pose.orientation.x = 0;
            ctx->odometry.pose.orientation.y = 0;
            ctx->odometry.pose.orientation.z = sin(theta / 2);
            ctx->odometry.pose.orientation.w = cos(theta / 2);
            ctx->odometry.twist.angular.z = omega;
            ctx->odometry.twist.linear.x = u;
            zros_pub_update(&ctx->pub_odometry);
        }
    }

    melm_estimate_fini(ctx);
}

static int start(struct context* ctx)
{
    k_tid_t tid = k_thread_create(&ctx->thread_data, ctx->stack_area,
        ctx->stack_size,
        melm_estimate_run,
        ctx, NULL, NULL,
        MY_PRIORITY, 0, K_FOREVER);
    k_thread_name_set(tid, "melm_estimate");
    k_thread_start(tid);
    return 0;
}

static int melm_estimate_cmd_handler(const struct shell* sh,
    size_t argc, char** argv, void* data)
{
    ARG_UNUSED(argc);
    struct context* ctx = data;

    if (strcmp(argv[0], "start") == 0) {
        if (k_sem_count_get(&g_ctx.running) == 0) {
            shell_print(sh, "already running");
        } else {
            start(ctx);
        }
    } else if (strcmp(argv[0], "stop") == 0) {
        if (k_sem_count_get(&g_ctx.running) == 0) {
            k_sem_give(&g_ctx.running);
        } else {
            shell_print(sh, "not running");
        }
    } else if (strcmp(argv[0], "status") == 0) {
        shell_print(sh, "running: %d", (int)k_sem_count_get(&g_ctx.running) == 0);
    }
    return 0;
}

SHELL_SUBCMD_DICT_SET_CREATE(sub_melm_estimate, melm_estimate_cmd_handler,
    (start, &g_ctx, "start"),
    (stop, &g_ctx, "stop"),
    (status, &g_ctx, "status"));

SHELL_CMD_REGISTER(melm_estimate, &sub_melm_estimate, "melm estimate arguments", NULL);

static int melm_estimate_sys_init(void)
{
    return start(&g_ctx);
};

SYS_INIT(melm_estimate_sys_init, APPLICATION, 1);

// vi: ts=4 sw=4 et
```

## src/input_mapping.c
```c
#include "input_mapping.h"
#include <math.h>
#include <zephyr/logging/log.h>

LOG_MODULE_DECLARE(melm_fsm);

int two_position_switch(float val)
{
    if (val > 0.0f) {
        return SWITCH_POS_DOWN;
    } else {
        return SWITCH_POS_UP;
    }
}

int three_position_switch(float val)
{
    if (val > 0.25f) {
        return SWITCH_POS_DOWN;
    } else if (fabsf(val) <= 0.25f) {
        return SWITCH_POS_MIDDLE;
    } else {
        return SWITCH_POS_UP;
    }
}

void input_request_compute(struct input_request* req, const synapse_pb_Input* input)
{
    // handle input
    int swa = two_position_switch(input->channel[CH_SWA_DOWN]);
    int swb = three_position_switch(input->channel[CH_SWB_DOWN]);
    int swc = three_position_switch(input->channel[CH_SWC_DOWN]);
    int swd = two_position_switch(input->channel[CH_SWD_DOWN]);

    req->arm = swa == SWITCH_POS_DOWN;
    req->disarm = swa == SWITCH_POS_UP;

    req->topic_source_input = swd == SWITCH_POS_UP;
    req->topic_source_ethernet = swd == SWITCH_POS_DOWN;

    req->mode_actuators = swb == SWITCH_POS_UP && swc == SWITCH_POS_UP;
    req->mode_velocity = swb == SWITCH_POS_UP && swc == SWITCH_POS_MIDDLE;
    req->mode_bezier = swb == SWITCH_POS_UP && swc == SWITCH_POS_DOWN;

    req->mode_calibration = swb == SWITCH_POS_DOWN && swc == SWITCH_POS_DOWN;

    if (input->channel[CH_VRA_CW] > 0.5f && !req->lights_on) {
        req->lights_on = true;
        LOG_INF("request lights on");
    } else if (input->channel[CH_VRA_CW] < -0.5f && req->lights_on) {
        LOG_INF("request lights off");
        req->lights_on = false;
    }
}
```

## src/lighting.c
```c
/*
 * Copyright CogniPilot Foundation 2023
 * SPDX-License-Identifier: Apache-2.0
 */

#include <math.h>

#include <zephyr/kernel.h>
#include <zephyr/logging/log.h>
#include <zephyr/shell/shell.h>

#include <zros/private/zros_node_struct.h>
#include <zros/private/zros_pub_struct.h>
#include <zros/private/zros_sub_struct.h>
#include <zros/zros_node.h>
#include <zros/zros_pub.h>
#include <zros/zros_sub.h>

#include <synapse_topic_list.h>

#define MY_STACK_SIZE 2048
#define MY_PRIORITY 4

LOG_MODULE_REGISTER(melm_lighting, CONFIG_CEREBRI_MELM_LOG_LEVEL);

static K_THREAD_STACK_DEFINE(g_my_stack_area, MY_STACK_SIZE);

struct context {
    // node
    struct zros_node node;
    // data
    synapse_pb_BatteryState battery_state;
    synapse_pb_Safety safety;
    synapse_pb_Status status;
    synapse_pb_LEDArray led_array;
    // subscriptions
    struct zros_sub sub_battery_state, sub_safety, sub_status;
    // publications
    struct zros_pub pub_led_array;
    struct k_sem running;
    size_t stack_size;
    k_thread_stack_t* stack_area;
    struct k_thread thread_data;
};

static struct context g_ctx = {
    .node = {},
    .battery_state = synapse_pb_BatteryState_init_default,
    .safety = synapse_pb_Safety_init_default,
    .status = synapse_pb_Status_init_default,
    .led_array = synapse_pb_LEDArray_init_default,
    .sub_safety = {},
    .sub_status = {},
    .pub_led_array = {},
    .running = Z_SEM_INITIALIZER(g_ctx.running, 1, 1),
    .stack_size = MY_STACK_SIZE,
    .stack_area = g_my_stack_area,
    .thread_data = {},
};

static void melm_lighting_init(struct context* ctx)
{
    zros_node_init(&ctx->node, "melm_lighting");
    zros_sub_init(&ctx->sub_battery_state, &ctx->node, &topic_battery_state, &ctx->battery_state, 10);
    zros_sub_init(&ctx->sub_safety, &ctx->node, &topic_safety, &ctx->safety, 10);
    zros_sub_init(&ctx->sub_status, &ctx->node, &topic_status, &ctx->status, 10);
    zros_pub_init(&ctx->pub_led_array, &ctx->node, &topic_led_array, &ctx->led_array);
    k_sem_take(&ctx->running, K_FOREVER);
    LOG_INF("init");
}

static void melm_lighting_fini(struct context* ctx)
{
    zros_sub_fini(&ctx->sub_battery_state);
    zros_sub_fini(&ctx->sub_safety);
    zros_sub_fini(&ctx->sub_status);
    zros_pub_fini(&ctx->pub_led_array);
    zros_node_fini(&ctx->node);
    k_sem_give(&ctx->running);
    LOG_INF("fini");
}

static void set_led(const int index, const double* color, const double brightness, synapse_pb_LEDArray_LED* led)
{
    led->index = index;
    led->r = brightness * color[0];
    led->g = brightness * color[1];
    led->b = brightness * color[2];
}

static void melm_lighting_run(void* p0, void* p1, void* p2)
{
    struct context* ctx = p0;
    ARG_UNUSED(p1);
    ARG_UNUSED(p2);

    melm_lighting_init(ctx);

    while (k_sem_take(&ctx->running, K_NO_WAIT) < 0) {

        // wait 33 ms
        k_msleep(33);

        // update subscriptions
        if (zros_sub_update_available(&ctx->sub_status)) {
            zros_sub_update(&ctx->sub_status);
        }

        if (zros_sub_update_available(&ctx->sub_safety)) {
            zros_sub_update(&ctx->sub_safety);
        }

        if (zros_sub_update_available(&ctx->sub_battery_state)) {
            zros_sub_update(&ctx->sub_battery_state);
        }

        // timing
        double t = k_uptime_ticks() / ((double)CONFIG_SYS_CLOCK_TICKS_PER_SEC);
        const double led_pulse_freq = 0.25;
        const double brightness_min = 4;
        const double brightness_max = 30;
        const double brightness_amplitude = (brightness_max - brightness_min) / 2;
        const double brightness_mean = (brightness_max + brightness_min) / 2;

        int brightness = brightness_mean + brightness_amplitude * sin(2 * 3.14159 * led_pulse_freq * t);
        int led_msg_index = 0;

        const int mode_leds[] = { 2, 3 };
        const double color_auto[] = { 1, 0, 0 };
        const double color_manual[] = { 0, 1, 0 };
        const double color_cmd_vel[] = { 0, 0, 1 };
        const double color_unknown[] = { 0.33, 0.33, 0.33 };

        const int arm_leds[] = { 1, 4 };
        const double color_armed[] = { 1, 0, 0 };
        const double color_disarmed[] = { 0, 1, 0 };

        const int safety_leds[] = { 0, 5 };
        const double color_unsafe[] = { 1, 0, 0 };
        const double color_safe[] = { 0, 1, 0 };
        const double color_battery_critical[] = { 1, 0.65, 0 };
        const double color_calibration[] = { 1, 1, 0 };

        const int headlight_leds[] = { 6, 7, 8, 9, 10, 11 };
        const double color_white[] = { 1, 1, 1 };

        bool battery_critical = ctx->battery_state.voltage < CONFIG_CEREBRI_MELM_BATTERY_MIN_MILLIVOLT / 1000.0;

        // mode leds
        for (size_t i = 0; i < ARRAY_SIZE(mode_leds); i++) {
            const double* color = NULL;
            if (ctx->status.mode == synapse_pb_Status_Mode_MODE_ACTUATORS) {
                color = color_manual;
            } else if (ctx->status.mode == synapse_pb_Status_Mode_MODE_VELOCITY) {
                color = color_cmd_vel;
            } else if (ctx->status.mode == synapse_pb_Status_Mode_MODE_BEZIER) {
                color = color_auto;
            } else if (ctx->status.mode == synapse_pb_Status_Mode_MODE_CALIBRATION) {
                color = color_calibration;
            } else {
                color = color_unknown;
            }
            set_led(mode_leds[i], color, brightness, &ctx->led_array.led[led_msg_index]);
            led_msg_index++;
        }

        // arm leds
        for (size_t i = 0; i < ARRAY_SIZE(arm_leds); i++) {
            const double* color = NULL;
            if (battery_critical) {
                color = color_battery_critical;
            } else {
                if (ctx->status.arming == synapse_pb_Status_Arming_ARMING_DISARMED) {
                    color = color_disarmed;
                } else if (ctx->status.arming == synapse_pb_Status_Arming_ARMING_ARMED) {
                    color = color_armed;
                } else {
                    color = color_unknown;
                }
            }
            set_led(arm_leds[i], color, brightness, &ctx->led_array.led[led_msg_index]);
            led_msg_index++;
        }

        // safety leds
        for (size_t i = 0; i < ARRAY_SIZE(safety_leds); i++) {
            const double* color = NULL;
            if (ctx->safety.status == synapse_pb_Safety_Status_SAFETY_SAFE) {
                color = color_safe;
            } else if (ctx->safety.status == synapse_pb_Safety_Status_SAFETY_UNSAFE) {
                color = color_unsafe;
            } else {
                color = color_unknown;
            }
            set_led(safety_leds[i], color, brightness, &ctx->led_array.led[led_msg_index]);
            led_msg_index++;
        }

        // headlight leds
        bool lights_on = ctx->status.flag & synapse_pb_Status_Flag_FLAG_LIGHTING;

        if (lights_on) {
            for (size_t i = 0; i < ARRAY_SIZE(headlight_leds); i++) {
                set_led(headlight_leds[i], color_white, 255, &ctx->led_array.led[led_msg_index]);
                led_msg_index++;
            }
        } else if (!lights_on) {
            for (size_t i = 0; i < ARRAY_SIZE(headlight_leds); i++) {
                set_led(headlight_leds[i], color_white, 0, &ctx->led_array.led[led_msg_index]);
                led_msg_index++;
            }
        }

        // set timestamp
        stamp_msg(&ctx->led_array.stamp, k_uptime_ticks());
        ctx->led_array.led_count = led_msg_index;

        zros_pub_update(&ctx->pub_led_array);
    }

    melm_lighting_fini(ctx);
}

static int start(struct context* ctx)
{
    k_tid_t tid = k_thread_create(&ctx->thread_data, ctx->stack_area,
        ctx->stack_size,
        melm_lighting_run,
        ctx, NULL, NULL,
        MY_PRIORITY, 0, K_FOREVER);
    k_thread_name_set(tid, "rdd2_lighting");
    k_thread_start(tid);
    return 0;
}

static int melm_lighting_cmd_handler(const struct shell* sh,
    size_t argc, char** argv, void* data)
{
    ARG_UNUSED(argc);
    struct context* ctx = data;
    if (argc != 1) {
        LOG_ERR("must have one argument");
        return -1;
    }

    if (strcmp(argv[0], "start") == 0) {
        if (k_sem_count_get(&g_ctx.running) == 0) {
            shell_print(sh, "already running");
        } else {
            start(ctx);
        }
    } else if (strcmp(argv[0], "stop") == 0) {
        if (k_sem_count_get(&g_ctx.running) == 0) {
            k_sem_give(&g_ctx.running);
        } else {
            shell_print(sh, "not running");
        }
    } else if (strcmp(argv[0], "status") == 0) {
        shell_print(sh, "running: %d", (int)k_sem_count_get(&g_ctx.running) == 0);
    }
    return 0;
}

SHELL_SUBCMD_DICT_SET_CREATE(sub_melm_lighting, melm_lighting_cmd_handler,
    (start, &g_ctx, "start"),
    (stop, &g_ctx, "stop"),
    (status, &g_ctx, "status"));

SHELL_CMD_REGISTER(melm_lighting, &sub_melm_lighting, "melm lighting commands", NULL);

static int melm_lighting_sys_init(void)
{
    return start(&g_ctx);
};

SYS_INIT(melm_lighting_sys_init, APPLICATION, 10);

// vi: ts=4 sw=4 et
```

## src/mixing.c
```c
/*
 * Copyright CogniPilot Foundation 2023
 * SPDX-License-Identifier: Apache-2.0
 */

#include "mixing.h"

void melm_set_actuators(synapse_pb_Actuators* msg, double turn_angle, double omega_fwd, bool armed)
{
    msg->has_stamp = true;
    stamp_msg(&msg->stamp, k_uptime_ticks());

    if (!armed) {
        // stop if not armed
        turn_angle = 0;
        omega_fwd = 0;
    }

    msg->position_count = 1;
    msg->position[0] = turn_angle;

    msg->velocity_count = 1;
    msg->velocity[0] = omega_fwd;

    msg->normalized_count = 1;
    msg->normalized[0] = armed ? 1 : -1;
}

/* vi: ts=4 sw=4 et */
```

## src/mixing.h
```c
/*
 * Copyright CogniPilot Foundation 2023
 * SPDX-License-Identifier: Apache-2.0
 */

#ifndef CEREBRI_MELM_MIXING_H
#define CEREBRI_MELM_MIXING_H

#include <synapse_topic_list.h>

void melm_set_actuators(synapse_pb_Actuators* msg, double turn_angle, double omega_fwd, bool armed);

#endif // CEREBRI_MELM_MIXING_H
/* vi: ts=4 sw=4 et */
```

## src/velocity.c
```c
/*
 * Copyright CogniPilot Foundation 2023
 * SPDX-License-Identifier: Apache-2.0
 */

#include "app/melm/casadi/melm.h"
#include "math.h"

#include <zephyr/kernel.h>
#include <zephyr/logging/log.h>
#include <zephyr/shell/shell.h>

#include <zros/private/zros_node_struct.h>
#include <zros/private/zros_pub_struct.h>
#include <zros/private/zros_sub_struct.h>
#include <zros/zros_node.h>
#include <zros/zros_pub.h>
#include <zros/zros_sub.h>

#include <cerebri/core/casadi.h>

#include "mixing.h"

#define MY_STACK_SIZE 3072
#define MY_PRIORITY 4

LOG_MODULE_REGISTER(melm_velocity, CONFIG_CEREBRI_MELM_LOG_LEVEL);

static K_THREAD_STACK_DEFINE(g_my_stack_area, MY_STACK_SIZE);

struct context {
    struct zros_node node;
    synapse_pb_Twist cmd_vel;
    synapse_pb_Status status;
    synapse_pb_Actuators actuators;
    struct zros_sub sub_status, sub_cmd_vel;
    struct zros_pub pub_actuators;
    const double wheel_radius;
    const double wheel_base;
    struct k_sem running;
    size_t stack_size;
    k_thread_stack_t* stack_area;
    struct k_thread thread_data;
};

static struct context g_ctx = {
    .node = {},
    .cmd_vel = synapse_pb_Twist_init_default,
    .status = synapse_pb_Status_init_default,
    .actuators = synapse_pb_Actuators_init_default,
    .sub_status = {},
    .sub_cmd_vel = {},
    .pub_actuators = {},
    .wheel_radius = CONFIG_CEREBRI_MELM_WHEEL_RADIUS_MM / 1000.0,
    .wheel_base = CONFIG_CEREBRI_MELM_WHEEL_BASE_MM / 1000.0,
    .running = Z_SEM_INITIALIZER(g_ctx.running, 1, 1),
    .stack_size = MY_STACK_SIZE,
    .stack_area = g_my_stack_area,
    .thread_data = {},
};

static void melm_velocity_init(struct context* ctx)
{
    zros_node_init(&ctx->node, "melm_velocity");
    zros_sub_init(&ctx->sub_cmd_vel, &ctx->node, &topic_cmd_vel, &ctx->cmd_vel, 10);
    zros_sub_init(&ctx->sub_status, &ctx->node, &topic_status, &ctx->status, 10);
    zros_pub_init(&ctx->pub_actuators, &ctx->node, &topic_actuators, &ctx->actuators);
    k_sem_take(&ctx->running, K_FOREVER);
    LOG_INF("init");
}

static void melm_velocity_fini(struct context* ctx)
{
    zros_pub_fini(&ctx->pub_actuators);
    zros_sub_fini(&ctx->sub_status);
    zros_sub_fini(&ctx->sub_cmd_vel);
    zros_node_fini(&ctx->node);
    k_sem_give(&ctx->running);
    LOG_INF("fini");
}

// computes actuators from cmd_vel
static void melm_velocity_update(struct context* ctx)
{
    double turn_angle = 0;
    double omega_fwd = 0;
    double V = ctx->cmd_vel.linear.x;
    double omega = ctx->cmd_vel.angular.z;
    double delta = 0;

    CASADI_FUNC_ARGS(ackermann_steering);
    args[0] = &ctx->wheel_base;
    args[1] = &omega;
    args[2] = &V;
    res[0] = &delta;
    CASADI_FUNC_CALL(ackermann_steering);

    omega_fwd = V / ctx->wheel_radius;
    if (fabs(V) > 0.01) {
        turn_angle = delta;
    }

    bool armed = ctx->status.arming == synapse_pb_Status_Arming_ARMING_ARMED;

    melm_set_actuators(&ctx->actuators, turn_angle, omega_fwd, armed);

    // publish
    zros_pub_update(&ctx->pub_actuators);
}

static void melm_velocity_run(void* p0, void* p1, void* p2)
{
    struct context* ctx = p0;
    ARG_UNUSED(p1);
    ARG_UNUSED(p2);

    melm_velocity_init(ctx);

    while (k_sem_take(&ctx->running, K_NO_WAIT) < 0) {
        struct k_poll_event events[] = {
            *zros_sub_get_event(&ctx->sub_cmd_vel),
        };
        int rc = k_poll(events, ARRAY_SIZE(events), K_MSEC(1000));

        if (rc < 0) {
            LOG_DBG("not receiving cmd_vel");
            continue;
        }

        if (zros_sub_update_available(&ctx->sub_status)) {
            zros_sub_update(&ctx->sub_status);
        }

        if (zros_sub_update_available(&ctx->sub_cmd_vel)) {
            zros_sub_update(&ctx->sub_cmd_vel);
        }

        // handle modes
        if (ctx->status.mode != synapse_pb_Status_Mode_MODE_ACTUATORS) {
            melm_velocity_update(ctx);
        }
    }

    melm_velocity_fini(ctx);
}

static int start(struct context* ctx)
{
    k_tid_t tid = k_thread_create(&ctx->thread_data, ctx->stack_area,
        ctx->stack_size,
        melm_velocity_run,
        ctx, NULL, NULL,
        MY_PRIORITY, 0, K_FOREVER);
    k_thread_name_set(tid, "melm_velocity");
    k_thread_start(tid);
    return 0;
}

static int melm_velocity_cmd_handler(const struct shell* sh,
    size_t argc, char** argv, void* data)
{
    ARG_UNUSED(argc);
    struct context* ctx = data;

    if (strcmp(argv[0], "start") == 0) {
        if (k_sem_count_get(&g_ctx.running) == 0) {
            shell_print(sh, "already running");
        } else {
            start(ctx);
        }
    } else if (strcmp(argv[0], "stop") == 0) {
        if (k_sem_count_get(&g_ctx.running) == 0) {
            k_sem_give(&g_ctx.running);
        } else {
            shell_print(sh, "not running");
        }
    } else if (strcmp(argv[0], "status") == 0) {
        shell_print(sh, "running: %d", (int)k_sem_count_get(&g_ctx.running) == 0);
    }
    return 0;
}

SHELL_SUBCMD_DICT_SET_CREATE(sub_melm_velocity, melm_velocity_cmd_handler,
    (start, &g_ctx, "start"),
    (stop, &g_ctx, "stop"),
    (status, &g_ctx, "status"));

SHELL_CMD_REGISTER(melm_velocity, &sub_melm_velocity, "melm velocity arguments", NULL);

static int melm_velocity_sys_init(void)
{
    return start(&g_ctx);
};

SYS_INIT(melm_velocity_sys_init, APPLICATION, 1);

// vi: ts=4 sw=4 et
```
